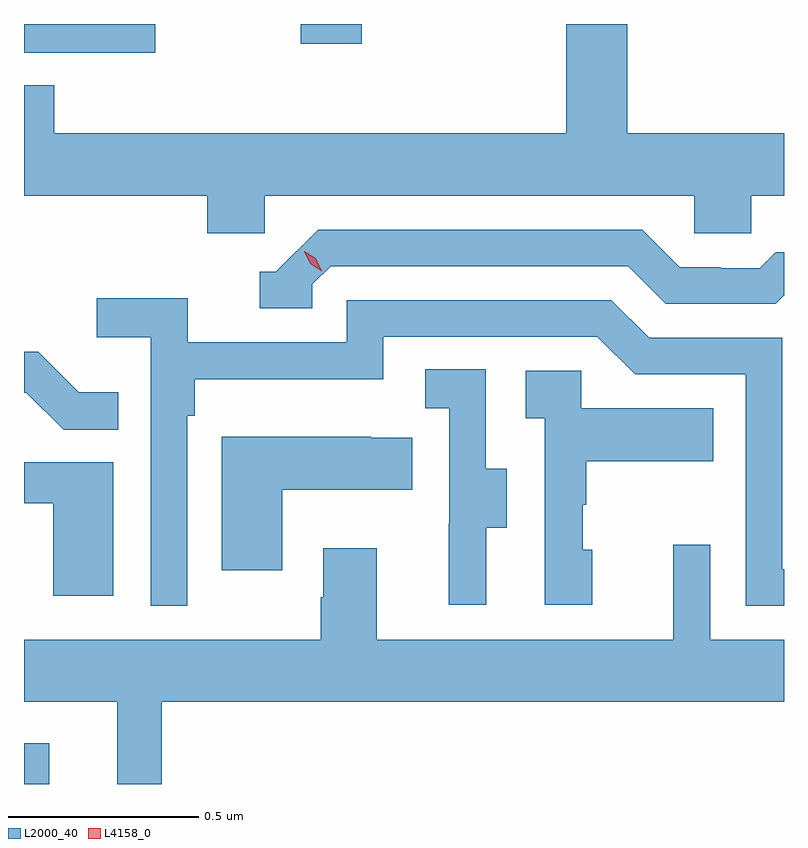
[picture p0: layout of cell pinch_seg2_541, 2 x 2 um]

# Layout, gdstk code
import gdstk
lib = gdstk.Library(unit=1e-6, precision=1e-09)
def R(c, l, rs):  # rectangles x0, y0, x1, y1
    for r in rs: c.add(gdstk.rectangle(r[:2], r[2:], *l))
def P(c, l, *ps):  # polygons
    for p in ps: c.add(gdstk.Polygon(p, *l))
L2000_40 = (2000, 40)
L4158_0 = (4158, 0)

pinch_seg2_541 = lib.new_cell('pinch_seg2_541')
R(pinch_seg2_541, L2000_40, [(998.877,600.8,998.944,600.907), (998.877,602.724,999.223,602.8), (999.605,602.748,999.766,602.8)])
P(pinch_seg2_541, L2000_40, [(999.51,602.348),(1000.641,602.348),(1000.641,602.25),(1000.791,602.25),(1000.791,602.348),(1000.877,602.348),(1000.877,602.512),(1000.464,602.512),(1000.464,602.8),(1000.304,602.8),(1000.304,602.512),(998.957,602.512),(998.957,602.639),(998.877,602.639),(998.877,602.348),(999.359,602.348),(999.359,602.25),(999.51,602.25)],
  [(999.636,602.115),(999.684,602.163),(1000.467,602.163),(1000.566,602.064),(1000.855,602.064),(1000.877,602.086),(1000.877,602.2),(1000.855,602.2),(1000.813,602.157),(1000.71,602.157),(1000.71,602.16),(1000.603,602.16),(1000.504,602.259),(999.651,602.259),(999.54,602.148),(999.497,602.148),(999.497,602.052),(999.636,602.052)],
  [(999.306,601.769),(999.326,601.769),(999.326,601.865),(999.822,601.865),(999.822,601.977),(1000.386,601.977),(1000.485,601.878),(1000.776,601.878),(1000.776,601.269),(1000.877,601.269),(1000.877,601.365),(1000.872,601.365),(1000.872,601.974),(1000.522,601.974),(1000.423,602.073),(999.726,602.073),(999.726,601.962),(999.308,601.962),(999.308,602.078),(999.069,602.078),(999.069,601.976),(999.21,601.976),(999.21,601.269),(999.306,601.269)],
  [(999.125,601.831),(999.021,601.831),(998.914,601.938),(998.877,601.938),(998.877,601.83),(998.883,601.83),(998.981,601.732),(999.125,601.732)],
  [(1000.093,601.474),(1000.147,601.474),(1000.147,601.629),(1000.092,601.629),(1000.092,601.892),(999.933,601.892),(999.933,601.789),(999.996,601.789),(999.996,601.485),(999.995,601.485),(999.995,601.272),(1000.093,601.272)],
  [(1000.372,601.416),(1000.347,601.416),(1000.347,601.535),(1000.357,601.535),(1000.357,601.649),(1000.691,601.649),(1000.691,601.789),(1000.344,601.789),(1000.344,601.887),(1000.197,601.887),(1000.197,601.763),(1000.248,601.763),(1000.248,601.272),(1000.372,601.272)],
  [(999.556,601.574),(999.899,601.574),(999.899,601.711),(999.791,601.711),(999.791,601.714),(999.398,601.714),(999.398,601.362),(999.556,601.362)],
  [(999.112,601.647),(998.877,601.647),(998.877,601.539),(998.954,601.539),(998.954,601.296),(999.112,601.296)],
  [(999.239,601.016),(1000.877,601.016),(1000.877,601.18),(1000.683,601.18),(1000.683,601.429),(1000.586,601.429),(1000.586,601.18),(999.805,601.18),(999.805,601.42),(999.665,601.42),(999.665,601.292),(999.658,601.292),(999.658,601.18),(998.877,601.18),(998.877,601.016),(999.122,601.016),(999.122,600.8),(999.239,600.8)])
P(pinch_seg2_541, L4158_0, [(999.661,602.15),(999.63,602.169),(999.614,602.202),(999.614,602.202),(999.614,602.202),(999.645,602.183),(999.661,602.15),(999.661,602.15)])

lib.write_gds('pinch_seg2_541.gds')
